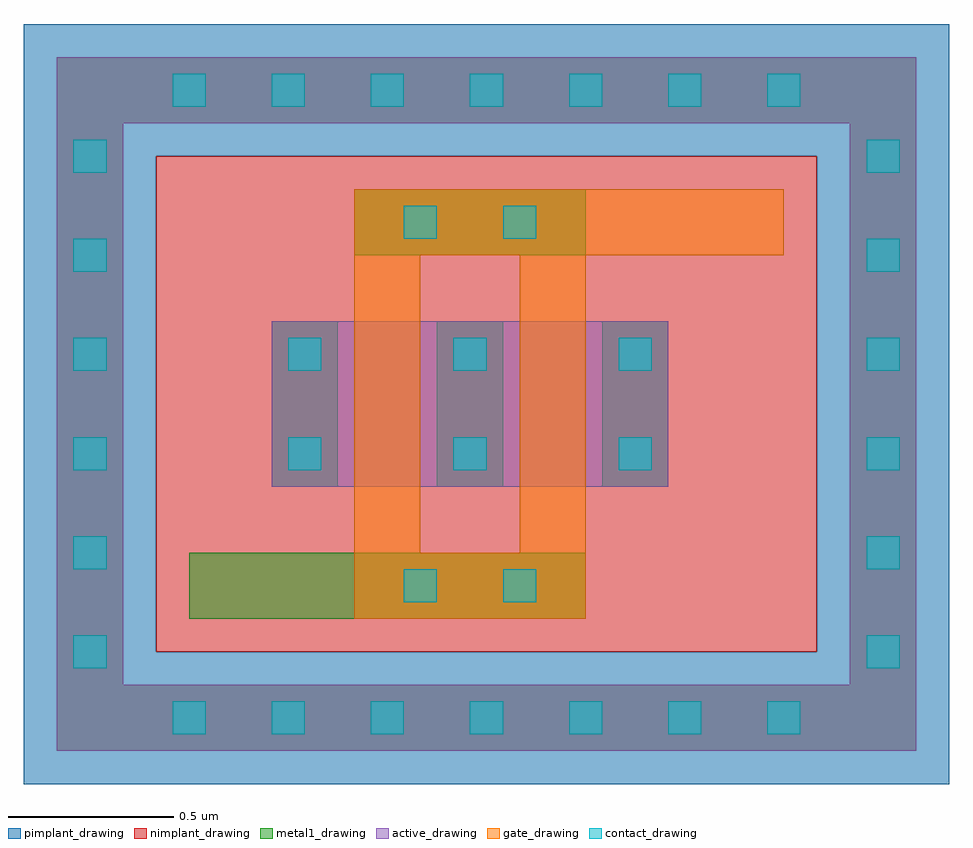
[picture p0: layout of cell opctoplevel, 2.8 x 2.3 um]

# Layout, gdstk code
import gdstk
lib = gdstk.Library(unit=1e-6, precision=1e-09)
def R(c, l, rs):  # rectangles x0, y0, x1, y1
    for r in rs: c.add(gdstk.rectangle(r[:2], r[2:], *l))
def A(c, l, x, y, w, h, nx, ny, dx, dy):  # array of equal rectangles
    R(c, l, [(x+i*dx, y+j*dy, x+i*dx+w, y+j*dy+h) for i in range(nx) for j in range(ny)])
active_drawing = (1, 0)
pimplant_drawing = (4, 0)
nimplant_drawing = (5, 0)
gate_drawing = (6, 0)
contact_drawing = (7, 0)
metal1_drawing = (8, 0)

opctoplevel = lib.new_cell('opctoplevel')
R(opctoplevel, active_drawing, [(-0.9,-0.8,1.7,-0.6), (-0.9,-0.8,-0.7,1.3), (1.5,-0.8,1.7,1.3), (-0.25,0,0.95,0.5), (-0.9,1.1,1.7,1.3)])
R(opctoplevel, pimplant_drawing, [(-1,-0.9,1.8,-0.5), (-1,-0.9,-0.6,1.4), (1.4,-0.9,1.8,1.4), (-1,1,1.8,1.4)])
R(opctoplevel, nimplant_drawing, [(-0.6,-0.5,1.4,1)])
R(opctoplevel, gate_drawing, [(0,-0.4,0.2,0.9), (0,-0.4,0.7,-0.2), (0.5,-0.4,0.7,0.9), (0,0.7,1.3,0.9)])
A(opctoplevel, contact_drawing, -0.55, -0.75, 0.1, 0.1, 7, 2, 0.3, 1.9)
A(opctoplevel, contact_drawing, -0.85, -0.55, 0.1, 0.1, 1, 6, 0, 0.3)
A(opctoplevel, contact_drawing, 1.55, -0.55, 0.1, 0.1, 1, 6, 0, 0.3)
A(opctoplevel, contact_drawing, -0.2, 0.05, 0.1, 0.1, 3, 2, 0.5, 0.3)
R(opctoplevel, contact_drawing, [(0.15,-0.35,0.25,-0.25), (0.45,-0.35,0.55,-0.25), (0.15,0.75,0.25,0.85), (0.45,0.75,0.55,0.85)])
A(opctoplevel, metal1_drawing, -0.25, 0, 0.2, 0.5, 3, 1, 0.5, 0)
R(opctoplevel, metal1_drawing, [(-0.9,-0.8,1.7,-0.6), (-0.9,-0.8,-0.7,1.3), (1.5,-0.8,1.7,1.3), (-0.5,-0.4,0.7,-0.2), (0,0.7,0.7,0.9), (-0.9,1.1,1.7,1.3)])

lib.write_gds('opctoplevel.gds')
